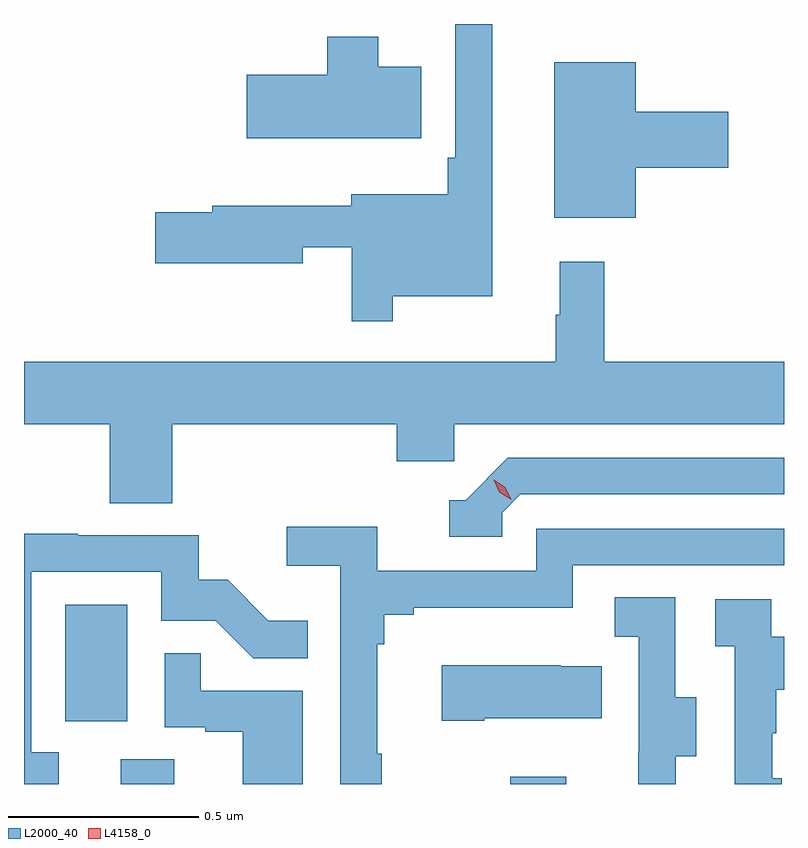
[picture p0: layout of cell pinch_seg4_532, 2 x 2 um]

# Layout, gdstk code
import gdstk
lib = gdstk.Library(unit=1e-6, precision=1e-09)
def R(c, l, rs):  # rectangles x0, y0, x1, y1
    for r in rs: c.add(gdstk.rectangle(r[:2], r[2:], *l))
def P(c, l, *ps):  # polygons
    for p in ps: c.add(gdstk.Polygon(p, *l))
L2000_40 = (2000, 40)
L4158_0 = (4158, 0)

pinch_seg4_532 = lib.new_cell('pinch_seg4_532')
R(pinch_seg4_532, L2000_40, [(973.547,761.241,973.687,761.306), (974.572,761.241,974.719,761.26), (973.4,761.406,973.564,761.713)])
P(pinch_seg4_532, L2000_40, [(974.263,762.524),(974.524,762.524),(974.524,763.241),(974.427,763.241),(974.427,762.889),(974.407,762.889),(974.407,762.793),(974.153,762.793),(974.153,762.763),(973.787,762.763),(973.787,762.746),(973.638,762.746),(973.638,762.611),(974.026,762.611),(974.026,762.654),(974.154,762.654),(974.154,762.459),(974.263,762.459)],
  [(974.338,763.129),(974.224,763.129),(974.224,763.207),(974.09,763.207),(974.09,763.107),(973.878,763.107),(973.878,762.941),(974.338,762.941)],
  [(974.902,762.863),(975.145,762.863),(975.145,763.01),(974.902,763.01),(974.902,763.141),(974.687,763.141),(974.687,762.731),(974.902,762.731)],
  [(973.682,762.188),(974.273,762.188),(974.273,762.09),(974.424,762.09),(974.424,762.188),(975.292,762.188),(975.292,762.352),(974.819,762.352),(974.819,762.616),(974.702,762.616),(974.702,762.476),(974.691,762.476),(974.691,762.352),(973.292,762.352),(973.292,762.188),(973.517,762.188),(973.517,761.98),(973.682,761.98)],
  [(974.55,761.955),(974.598,762.003),(975.292,762.003),(975.292,762.099),(974.565,762.099),(974.454,761.988),(974.411,761.988),(974.411,761.892),(974.55,761.892)],
  [(974.233,761.321),(974.221,761.321),(974.221,761.609),(974.24,761.609),(974.24,761.686),(974.317,761.686),(974.317,761.705),(974.736,761.705),(974.736,761.817),(975.292,761.817),(975.292,761.913),(974.64,761.913),(974.64,761.802),(974.222,761.802),(974.222,761.918),(973.983,761.918),(973.983,761.816),(974.124,761.816),(974.124,761.241),(974.233,761.241)],
  [(973.384,761.325),(973.311,761.325),(973.311,761.799),(973.653,761.799),(973.653,761.67),(973.797,761.67),(973.895,761.572),(974.039,761.572),(974.039,761.671),(973.935,761.671),(973.828,761.778),(973.752,761.778),(973.752,761.895),(973.433,761.895),(973.433,761.9),(973.292,761.9),(973.292,761.241),(973.384,761.241)],
  [(975.007,761.314),(975.061,761.314),(975.061,761.469),(975.006,761.469),(975.006,761.732),(974.847,761.732),(974.847,761.629),(974.91,761.629),(974.91,761.325),(974.909,761.325),(974.909,761.241),(975.007,761.241)],
  [(975.286,761.256),(975.261,761.256),(975.261,761.375),(975.271,761.375),(975.271,761.489),(975.292,761.489),(975.292,761.629),(975.258,761.629),(975.258,761.727),(975.111,761.727),(975.111,761.603),(975.162,761.603),(975.162,761.241),(975.286,761.241)],
  [(974.026,761.487),(973.757,761.487),(973.757,761.585),(973.662,761.585),(973.662,761.391),(973.769,761.391),(973.769,761.379),(973.868,761.379),(973.868,761.241),(974.026,761.241)],
  [(974.503,761.414),(974.813,761.414),(974.813,761.551),(974.705,761.551),(974.705,761.554),(974.391,761.554),(974.391,761.407),(974.503,761.407)])
P(pinch_seg4_532, L4158_0, [(974.574,761.989),(974.543,762.009),(974.528,762.042),(974.528,762.042),(974.528,762.042),(974.559,762.022),(974.574,761.989),(974.574,761.989)])

lib.write_gds('pinch_seg4_532.gds')
